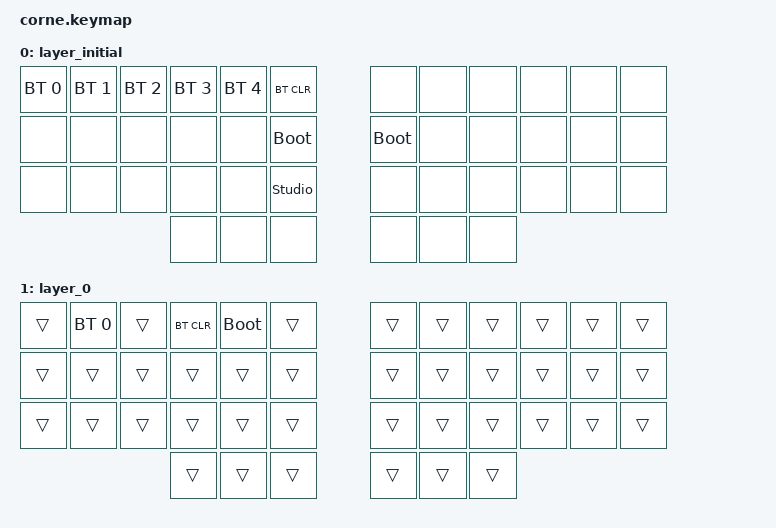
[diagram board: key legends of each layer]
#include <behaviors.dtsi>
#include <dt-bindings/zmk/bt.h>
#include <dt-bindings/zmk/keys.h>

#define bt_ &bt BT_SEL
#define bt__c &bt BT_CLR
#define st_un &studio_unlock
#define boot_ &bootloader
#define none_ &none

/ {
    keymap {
        compatible = "zmk,keymap";

        layer_initial {
            bindings = <
bt_ 0 bt_ 1 bt_ 2 bt_ 3 bt_ 4 bt__c   none_ none_ none_ none_ none_ none_
none_ none_ none_ none_ none_ boot_   boot_ none_ none_ none_ none_ none_
none_ none_ none_ none_ none_ st_un   none_ none_ none_ none_ none_ none_
                  none_ none_ none_   none_ none_ none_
            >;
        };
    };
};


#include <behaviors.dtsi>
#include <dt-bindings/zmk/bt.h>

/ {
    keymap {
        compatible = "zmk,keymap";

        layer_0 {
            bindings = <
&trans  &bt BT_SEL 0  &trans  &bt BT_CLR  &bootloader  &trans    &trans  &trans  &trans  &trans  &trans  &trans
&trans  &trans        &trans  &trans      &trans       &trans    &trans  &trans  &trans  &trans  &trans  &trans
&trans  &trans        &trans  &trans      &trans       &trans    &trans  &trans  &trans  &trans  &trans  &trans
                              &trans      &trans       &trans    &trans  &trans  &trans
            >;
        };
    };
};
